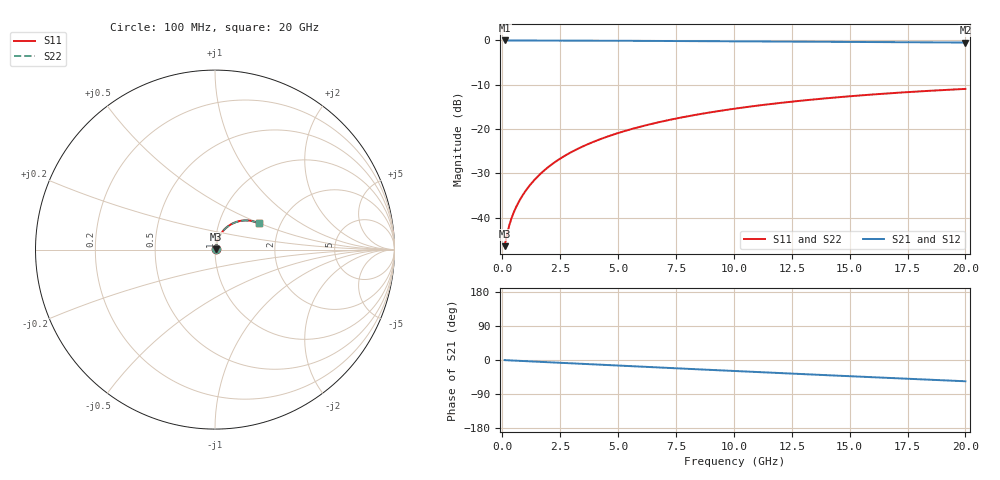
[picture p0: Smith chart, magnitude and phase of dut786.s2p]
! Touchstone file exported from HFSS 2026.1.0
!  File:  C:/ffzhzh/LocalFiles/Ansys_Project_Files/temp_train_BSMRDL_786_1783169457_51560.aedt
!  Generated:  08:52:20 PM Jul  4, 2026
!  Design:  BSMRDL
!  Project:  temp_train_BSMRDL_786_1783169457_51560
! Variables:
!  h_bsmrdl = 2.97um
!  h_ox = 20um
!  h_rdl = 5um
!  h_sub = 80um
!  h_tmrdl = 5um
!  h_tsv = 80um
!  h_via = 3um
!  l_bsmrdl = 942.09um
!  l_sub = 1342.09um
!  l_tmrdl = 200um
!  m_sub = 200um
!  pitch = 42.59um
!  r_tsv = 6um
!  s_tmrdl = 10um
!  w_bsmrdl = 29.33um
!  w_sub = 500um
!  w_tmrdl = 12um
!  x_tsv_center1 = 206um
!  x_tsv_center2 = 1177.42um
!  x_tsv_center3 = 1389.42um
!  x_tsv_center4 = 2360.84um
!  x_tsv_center5 = 2572.84um
!  x_tsv_center6 = 3544.26um
# GHz S MA R 50.000000
! Terminal data exported
! Port[1] = BSM_RDL1_1_T1
! Port[2] = BSM_RDL1_1_T2
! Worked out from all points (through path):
!   200 points, 100 MHz to 20 GHz, reference 50 ohm
!   highest |S21| = -0.04 dB at 100 MHz (marker M1); lowest = -0.5 dB at 20 GHz (marker M2)
!   group delay of S21, straight-line fit = 7.79 ps
!   lowest |S11| = -46.4 dB at 100 MHz (marker M3), VSWR 1.01, Z = 50.4 + j0.24 ohm
!   |S11| at or under -10 dB: start of sweep to end of sweep
!   |S22| runs from -46.4 to -10.9 dB; largest |S21 - S12| = 3.6e-15
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0.1  0.004798 29.7  0.9958 -0.3  0.9958 -0.3  0.004798 29.7
! Gamma 0 0 0 0
! Port Impedance 50 0 50 0
0.2  0.006448 45.0  0.9955 -0.6  0.9955 -0.6  0.006448 45.0
0.3  0.008218 52.6  0.9951 -0.9  0.9951 -0.9  0.008218 52.6
0.4  0.009938 57.2  0.9948 -1.2  0.9948 -1.2  0.009938 57.2
0.5  0.01162 60.5  0.9945 -1.5  0.9945 -1.5  0.01162 60.5
0.6  0.01328 63.1  0.9943 -1.8  0.9943 -1.8  0.01328 63.1
0.8  0.01662 66.9  0.994 -2.4  0.994 -2.4  0.01662 66.9
1  0.02003 69.5  0.9938 -3.0  0.9938 -3.0  0.02003 69.5
1.2  0.02348 71.2  0.9936 -3.6  0.9936 -3.6  0.02348 71.2
1.7  0.03227 73.6  0.9931 -5.1  0.9931 -5.1  0.03227 73.6
2.2  0.04115 74.3  0.9926 -6.5  0.9926 -6.5  0.04115 74.3
2.8  0.05181 74.1  0.9918 -8.3  0.9918 -8.3  0.05182 74.1
3.5  0.06419 73.2  0.9907 -10.3  0.9907 -10.3  0.0642 73.2
4.2  0.07643 71.9  0.9894 -12.4  0.9894 -12.4  0.07644 71.8
5  0.09019 70.1  0.9877 -14.7  0.9877 -14.7  0.09021 70.1
5.9  0.1054 67.9  0.9856 -17.3  0.9856 -17.3  0.1054 67.9
6.8  0.1201 65.7  0.9833 -19.9  0.9833 -19.9  0.1202 65.6
8.3  0.1439 61.7  0.9791 -24.2  0.9791 -24.2  0.1439 61.6
10.1  0.1707 56.9  0.9736 -29.2  0.9736 -29.2  0.1707 56.8
13.4  0.215 48.2  0.9631 -38.4  0.9631 -38.4  0.2151 48.0
16.7  0.2527 39.6  0.9528 -47.4  0.9528 -47.4  0.2528 39.4
20  0.2834 31.2  0.9434 -56.1  0.9434 -56.1  0.2835 30.9
